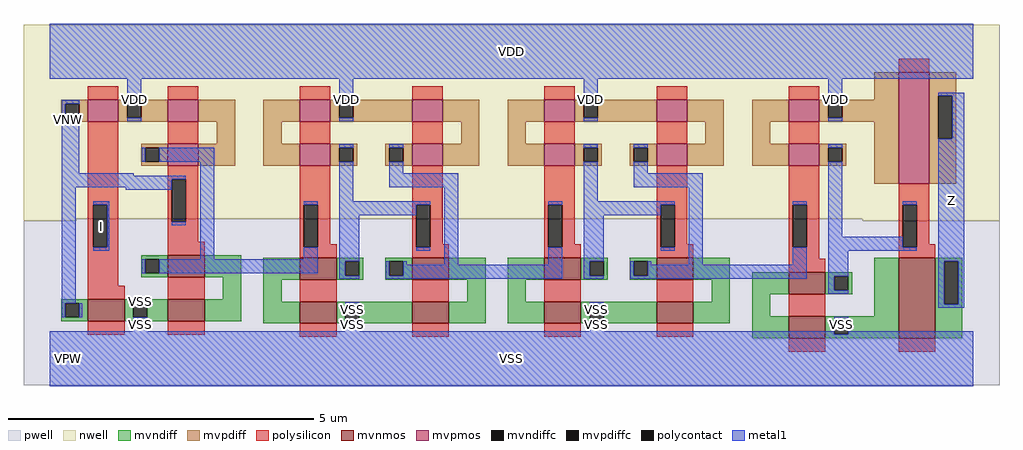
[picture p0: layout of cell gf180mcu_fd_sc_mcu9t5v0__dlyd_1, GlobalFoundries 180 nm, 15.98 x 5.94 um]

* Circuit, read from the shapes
.subckt gf180mcu_fd_sc_mcu9t5v0__dlyd_1 I Z VDD VNW VPW VSS
XM1 VSS I n1 VPW nfet_06v0 w=0.36u l=0.6u
XM2 n2 n1 VSS VPW nfet_06v0 w=0.36u l=0.6u
XM3 n2 n1 n3 VPW nfet_06v0 w=0.36u l=0.6u
XM4 VSS n3 n4 VPW nfet_06v0 w=0.36u l=0.6u
XM5 n5 n3 n4 VPW nfet_06v0 w=0.36u l=0.6u
XM6 n6 n5 VSS VPW nfet_06v0 w=0.36u l=0.6u
XM7 n6 n5 n7 VPW nfet_06v0 w=0.36u l=0.6u
XM8 VSS n7 n8 VPW nfet_06v0 w=0.36u l=0.6u
XM9 n9 n7 n8 VPW nfet_06v0 w=0.36u l=0.6u
XM10 n10 n9 VSS VPW nfet_06v0 w=0.36u l=0.6u
XM11 n10 n9 n11 VPW nfet_06v0 w=0.36u l=0.6u
XM12 VSS n11 n12 VPW nfet_06v0 w=0.36u l=0.6u
XM13 n13 n11 n12 VPW nfet_06v0 w=0.36u l=0.6u
XM14 Z n13 VSS VPW nfet_06v0 w=1.32u l=0.6u
XM15 VDD I n1 VNW pfet_06v0 w=0.36u l=0.5u
XM16 n14 n1 n3 VNW pfet_06v0 w=0.36u l=0.5u
XM17 n14 n1 VDD VNW pfet_06v0 w=0.36u l=0.5u
XM18 n5 n3 n15 VNW pfet_06v0 w=0.36u l=0.5u
XM19 VDD n3 n15 VNW pfet_06v0 w=0.36u l=0.5u
XM20 n16 n5 n7 VNW pfet_06v0 w=0.36u l=0.5u
XM21 n16 n5 VDD VNW pfet_06v0 w=0.36u l=0.5u
XM22 n9 n7 n17 VNW pfet_06v0 w=0.36u l=0.5u
XM23 VDD n7 n17 VNW pfet_06v0 w=0.36u l=0.5u
XM24 n18 n9 n11 VNW pfet_06v0 w=0.36u l=0.5u
XM25 n18 n9 VDD VNW pfet_06v0 w=0.36u l=0.5u
XM26 n13 n11 n19 VNW pfet_06v0 w=0.36u l=0.5u
XM27 VDD n11 n19 VNW pfet_06v0 w=0.36u l=0.5u
XM28 Z n13 VDD VNW pfet_06v0 w=1.83u l=0.5u
.ends

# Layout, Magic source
magic
tech gf180mcuD
magscale 1 10
<< nwell >>
rect -86 459 3110 1094
rect -86 453 86 459
rect 2662 453 3110 459
<< pwell >>
rect 86 453 2662 459
rect -86 -86 3110 453
<< mvnmos >>
rect 387 267 507 339
rect 125 123 245 195
rect 387 123 507 195
rect 819 260 939 332
rect 1187 260 1307 332
rect 819 116 939 188
rect 1187 116 1307 188
rect 1619 260 1739 332
rect 1987 260 2107 332
rect 1619 116 1739 188
rect 1987 116 2107 188
rect 2420 212 2540 284
rect 2420 68 2540 140
rect 2780 68 2900 332
<< mvpmos >>
rect 125 777 225 849
rect 387 777 487 849
rect 387 633 487 705
rect 819 777 919 849
rect 1187 777 1287 849
rect 819 633 919 705
rect 1187 633 1287 705
rect 1619 777 1719 849
rect 1987 777 2087 849
rect 1619 633 1719 705
rect 1987 633 2087 705
rect 2420 777 2520 849
rect 2420 633 2520 705
rect 2780 573 2880 939
<< mvndiff >>
rect 299 326 387 339
rect 299 280 312 326
rect 358 280 387 326
rect 299 267 387 280
rect 507 267 627 339
rect 567 195 627 267
rect 37 182 125 195
rect 37 136 50 182
rect 96 136 125 182
rect 37 123 125 136
rect 245 182 387 195
rect 245 136 274 182
rect 320 136 387 182
rect 245 123 387 136
rect 507 123 627 195
rect 699 260 819 332
rect 939 319 1027 332
rect 939 273 968 319
rect 1014 273 1027 319
rect 939 260 1027 273
rect 1099 319 1187 332
rect 1099 273 1112 319
rect 1158 273 1187 319
rect 1099 260 1187 273
rect 1307 260 1427 332
rect 699 188 759 260
rect 1367 188 1427 260
rect 699 116 819 188
rect 939 175 1187 188
rect 939 129 968 175
rect 1014 129 1187 175
rect 939 116 1187 129
rect 1307 116 1427 188
rect 1499 260 1619 332
rect 1739 319 1827 332
rect 1739 273 1768 319
rect 1814 273 1827 319
rect 1739 260 1827 273
rect 1899 319 1987 332
rect 1899 273 1912 319
rect 1958 273 1987 319
rect 1899 260 1987 273
rect 2107 260 2227 332
rect 1499 188 1559 260
rect 2167 188 2227 260
rect 1499 116 1619 188
rect 1739 175 1987 188
rect 1739 129 1768 175
rect 1814 129 1987 175
rect 1739 116 1987 129
rect 2107 116 2227 188
rect 2300 212 2420 284
rect 2540 271 2628 284
rect 2540 225 2569 271
rect 2615 225 2628 271
rect 2540 212 2628 225
rect 2300 140 2360 212
rect 2700 140 2780 332
rect 2300 68 2420 140
rect 2540 127 2780 140
rect 2540 81 2569 127
rect 2615 81 2780 127
rect 2540 68 2780 81
rect 2900 319 2988 332
rect 2900 179 2929 319
rect 2975 179 2988 319
rect 2900 68 2988 179
<< mvpdiff >>
rect 2700 849 2780 939
rect 37 836 125 849
rect 37 790 50 836
rect 96 790 125 836
rect 37 777 125 790
rect 225 836 387 849
rect 225 790 254 836
rect 300 790 387 836
rect 225 777 387 790
rect 487 777 607 849
rect 547 705 607 777
rect 299 692 387 705
rect 299 646 312 692
rect 358 646 387 692
rect 299 633 387 646
rect 487 633 607 705
rect 699 777 819 849
rect 919 836 1187 849
rect 919 790 948 836
rect 994 790 1187 836
rect 919 777 1187 790
rect 1287 777 1407 849
rect 699 705 759 777
rect 1347 705 1407 777
rect 699 633 819 705
rect 919 692 1007 705
rect 919 646 948 692
rect 994 646 1007 692
rect 919 633 1007 646
rect 1099 692 1187 705
rect 1099 646 1112 692
rect 1158 646 1187 692
rect 1099 633 1187 646
rect 1287 633 1407 705
rect 1499 777 1619 849
rect 1719 836 1987 849
rect 1719 790 1748 836
rect 1794 790 1987 836
rect 1719 777 1987 790
rect 2087 777 2207 849
rect 1499 705 1559 777
rect 2147 705 2207 777
rect 1499 633 1619 705
rect 1719 692 1807 705
rect 1719 646 1748 692
rect 1794 646 1807 692
rect 1719 633 1807 646
rect 1899 692 1987 705
rect 1899 646 1912 692
rect 1958 646 1987 692
rect 1899 633 1987 646
rect 2087 633 2207 705
rect 2300 777 2420 849
rect 2520 836 2780 849
rect 2520 790 2549 836
rect 2595 790 2780 836
rect 2520 777 2780 790
rect 2300 705 2360 777
rect 2300 633 2420 705
rect 2520 692 2608 705
rect 2520 646 2549 692
rect 2595 646 2608 692
rect 2520 633 2608 646
rect 2700 573 2780 777
rect 2880 861 2968 939
rect 2880 721 2909 861
rect 2955 721 2968 861
rect 2880 573 2968 721
<< mvndiffc >>
rect 312 280 358 326
rect 50 136 96 182
rect 274 136 320 182
rect 968 273 1014 319
rect 1112 273 1158 319
rect 968 129 1014 175
rect 1768 273 1814 319
rect 1912 273 1958 319
rect 1768 129 1814 175
rect 2569 225 2615 271
rect 2569 81 2615 127
rect 2929 179 2975 319
<< mvpdiffc >>
rect 50 790 96 836
rect 254 790 300 836
rect 312 646 358 692
rect 948 790 994 836
rect 948 646 994 692
rect 1112 646 1158 692
rect 1748 790 1794 836
rect 1748 646 1794 692
rect 1912 646 1958 692
rect 2549 790 2595 836
rect 2549 646 2595 692
rect 2909 721 2955 861
<< polysilicon >>
rect 2780 939 2880 983
rect 125 849 225 893
rect 387 849 487 893
rect 819 849 919 893
rect 1187 849 1287 893
rect 1619 849 1719 893
rect 1987 849 2087 893
rect 2420 849 2520 893
rect 125 505 225 777
rect 387 705 487 777
rect 819 705 919 777
rect 1187 705 1287 777
rect 1619 705 1719 777
rect 1987 705 2087 777
rect 2420 705 2520 777
rect 125 365 142 505
rect 188 365 225 505
rect 125 239 225 365
rect 387 589 487 633
rect 387 449 400 589
rect 446 449 487 589
rect 387 383 487 449
rect 819 505 919 633
rect 387 339 507 383
rect 819 365 832 505
rect 878 376 919 505
rect 1187 505 1287 633
rect 878 365 939 376
rect 819 332 939 365
rect 1187 365 1200 505
rect 1246 376 1287 505
rect 1619 505 1719 633
rect 1246 365 1307 376
rect 1187 332 1307 365
rect 1619 365 1632 505
rect 1678 376 1719 505
rect 1987 505 2087 633
rect 1678 365 1739 376
rect 1619 332 1739 365
rect 1987 365 2000 505
rect 2046 376 2087 505
rect 2420 505 2520 633
rect 2046 365 2107 376
rect 1987 332 2107 365
rect 2420 365 2433 505
rect 2479 365 2520 505
rect 125 195 245 239
rect 387 195 507 267
rect 819 188 939 260
rect 1187 188 1307 260
rect 125 79 245 123
rect 387 79 507 123
rect 2420 328 2520 365
rect 2780 505 2880 573
rect 2780 365 2793 505
rect 2839 376 2880 505
rect 2839 365 2900 376
rect 2780 332 2900 365
rect 2420 284 2540 328
rect 1619 188 1739 260
rect 1987 188 2107 260
rect 2420 140 2540 212
rect 819 72 939 116
rect 1187 72 1307 116
rect 1619 72 1739 116
rect 1987 72 2107 116
rect 2420 24 2540 68
rect 2780 24 2900 68
<< polycontact >>
rect 142 365 188 505
rect 400 449 446 589
rect 832 365 878 505
rect 1200 365 1246 505
rect 1632 365 1678 505
rect 2000 365 2046 505
rect 2433 365 2479 505
rect 2793 365 2839 505
<< metal1 >>
rect 0 918 3024 1098
rect 39 836 96 847
rect 39 790 50 836
rect 39 608 96 790
rect 254 836 300 918
rect 254 779 300 790
rect 948 836 994 918
rect 948 779 994 790
rect 1748 836 1794 918
rect 1748 779 1794 790
rect 2549 836 2595 918
rect 2549 779 2595 790
rect 2909 861 2994 872
rect 2955 721 2994 861
rect 948 692 994 703
rect 301 646 312 692
rect 358 646 538 692
rect 39 600 275 608
rect 39 589 446 600
rect 39 562 400 589
rect 39 182 85 562
rect 249 554 400 562
rect 142 505 194 516
rect 188 365 194 505
rect 400 438 446 449
rect 142 354 194 365
rect 492 326 538 646
rect 948 516 994 646
rect 1112 692 1158 703
rect 1112 608 1158 646
rect 1748 692 1794 703
rect 1112 562 1338 608
rect 832 505 878 516
rect 832 326 878 365
rect 301 280 312 326
rect 358 280 878 326
rect 948 505 1246 516
rect 948 470 1200 505
rect 948 319 1014 470
rect 1200 354 1246 365
rect 948 273 968 319
rect 948 262 1014 273
rect 1101 273 1112 319
rect 1158 308 1169 319
rect 1292 308 1338 562
rect 1748 516 1794 646
rect 1912 692 1958 703
rect 1912 608 1958 646
rect 2549 692 2595 703
rect 1912 562 2138 608
rect 1632 505 1678 516
rect 1632 308 1678 365
rect 1158 273 1678 308
rect 1101 262 1678 273
rect 1748 505 2046 516
rect 1748 470 2000 505
rect 1748 319 1814 470
rect 2000 354 2046 365
rect 1748 273 1768 319
rect 1748 262 1814 273
rect 1901 273 1912 319
rect 1958 308 1969 319
rect 2092 308 2138 562
rect 2433 505 2479 516
rect 2433 308 2479 365
rect 1958 273 2479 308
rect 1901 262 2479 273
rect 2549 400 2595 646
rect 2793 505 2839 516
rect 2549 365 2793 400
rect 2549 354 2839 365
rect 2549 271 2615 354
rect 2549 225 2569 271
rect 2549 214 2615 225
rect 2909 319 2994 721
rect 274 182 320 193
rect 39 136 50 182
rect 96 136 107 182
rect 274 90 320 136
rect 968 175 1014 186
rect 968 90 1014 129
rect 1768 175 1814 186
rect 2909 179 2929 319
rect 2975 179 2994 319
rect 2909 168 2994 179
rect 1768 90 1814 129
rect 2569 127 2615 138
rect 0 81 2569 90
rect 2615 81 3024 90
rect 0 -90 3024 81
<< labels >>
flabel metal1 s 142 354 194 516 0 FreeSans 200 0 0 0 I
port 1 nsew default input
flabel metal1 s 0 918 3024 1098 0 FreeSans 200 0 0 0 VDD
port 3 nsew power bidirectional abutment
flabel metal1 s 274 186 320 193 0 FreeSans 200 0 0 0 VSS
port 6 nsew ground bidirectional abutment
flabel metal1 s 2909 168 2994 872 0 FreeSans 200 0 0 0 Z
port 2 nsew default output
flabel nwell s 10 734 110 834 0 FreeSans 400 0 0 0 VNW
port 4 nsew power bidirectional
flabel pwell s 10 -50 110 50 0 FreeSans 400 0 0 0 VPW
port 5 nsew ground bidirectional
rlabel metal1 s 2549 779 2595 918 1 VDD
port 3 nsew power bidirectional abutment
rlabel metal1 s 1748 779 1794 918 1 VDD
port 3 nsew power bidirectional abutment
rlabel metal1 s 948 779 994 918 1 VDD
port 3 nsew power bidirectional abutment
rlabel metal1 s 254 779 300 918 1 VDD
port 3 nsew power bidirectional abutment
rlabel metal1 s 1768 138 1814 186 1 VSS
port 6 nsew ground bidirectional abutment
rlabel metal1 s 968 138 1014 186 1 VSS
port 6 nsew ground bidirectional abutment
rlabel metal1 s 274 138 320 186 1 VSS
port 6 nsew ground bidirectional abutment
rlabel metal1 s 2569 90 2615 138 1 VSS
port 6 nsew ground bidirectional abutment
rlabel metal1 s 1768 90 1814 138 1 VSS
port 6 nsew ground bidirectional abutment
rlabel metal1 s 968 90 1014 138 1 VSS
port 6 nsew ground bidirectional abutment
rlabel metal1 s 274 90 320 138 1 VSS
port 6 nsew ground bidirectional abutment
rlabel metal1 s 0 -90 3024 90 1 VSS
port 6 nsew ground bidirectional abutment
<< properties >>
string FIXED_BBOX 0 0 3024 1008
string GDS_END 747598
string GDS_FILE $PDKPATH/libs.ref/gf180mcu_fd_sc_mcu9t5v0/gds/gf180mcu_fd_sc_mcu9t5v0.gds
string GDS_START 740648
string LEFclass core
string LEFsite GF018hv5v_green_sc9
string LEFsymmetry X Y
<< end >>
